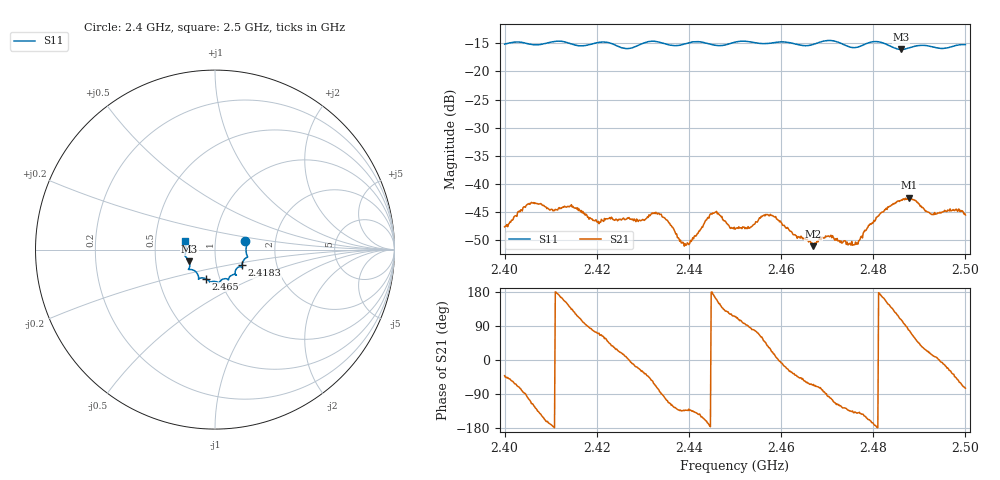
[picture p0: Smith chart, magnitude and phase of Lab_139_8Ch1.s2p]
# Hz S RI R 50
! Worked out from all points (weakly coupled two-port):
!   601 points, 2.4 GHz to 2.5 GHz, reference 50 ohm
!   highest |S21| = -42.49 dB at 2.4878 GHz (marker M1); lowest = -51.2 dB at 2.467 GHz (marker M2)
!   lowest |S11| = -16.1 dB at 2.486 GHz (marker M3), VSWR 1.37, Z = 37.2 - j4.95 ohm
!   |S11| at or under -10 dB: start of sweep to end of sweep
!   S12 and S22 are empty: the file has one direction only
!   S11 on the Smith chart (normalised r, x): 2.4 GHz: 1.40, +0.13; 2.4183 GHz: 1.33, -0.24; 2.465 GHz: 0.86, -0.29; 2.5 GHz: 0.71, +0.07
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2.4e9  0.1692 0.0459  0.00308 -0.00273  0 0  0 0
2.405833e9  0.1738 0.0109  -0.00289 -0.00616  0 0  0 0
2.416667e9  0.1549 -0.0679  -0.00148 0.00555  0 0  0 0
2.418333e9  0.1499 -0.0868  0.000355 0.0048  0 0  0 0
2.429333e9  0.1125 -0.1321  0.00428 -0.00199  0 0  0 0
2.433333e9  0.1176 -0.141  0.00118 -0.00532  0 0  0 0
2.439e9  0.0781 -0.1572  -0.00191 -0.002  0 0  0 0
2.4455e9  0.0577 -0.1618  -0.00537 0.00108  0 0  0 0
2.45e9  0.0255 -0.181  -0.00162 0.00357  0 0  0 0
2.453167e9  0.0184 -0.1832  0.000274 0.004  0 0  0 0
2.457167e9  -0.0114 -0.1774  0.00425 0.00314  0 0  0 0
2.465e9  -0.0523 -0.1619  0.00183 -0.00264  0 0  0 0
2.466667e9  -0.0713 -0.1574  0.00126 -0.00268  0 0  0 0
2.467e9  -0.0748 -0.1575  0.00119 -0.0025  0 0  0 0
2.470333e9  -0.092 -0.1651  -0.000353 -0.0034  0 0  0 0
2.476167e9  -0.1121 -0.1191  -0.00223 -0.00202  0 0  0 0
2.480167e9  -0.1478 -0.1109  -0.00464 -0.000744  0 0  0 0
2.483333e9  -0.1414 -0.0963  -0.00514 0.00341  0 0  0 0
2.486e9  -0.1431 -0.065  -0.0021 0.00676  0 0  0 0
2.487833e9  -0.1556 -0.0479  0.00155 0.00734  0 0  0 0
2.492667e9  -0.165 -0.023  0.00515 0.00128  0 0  0 0
2.5e9  -0.1673 0.047  0.00141 -0.00506  0 0  0 0
